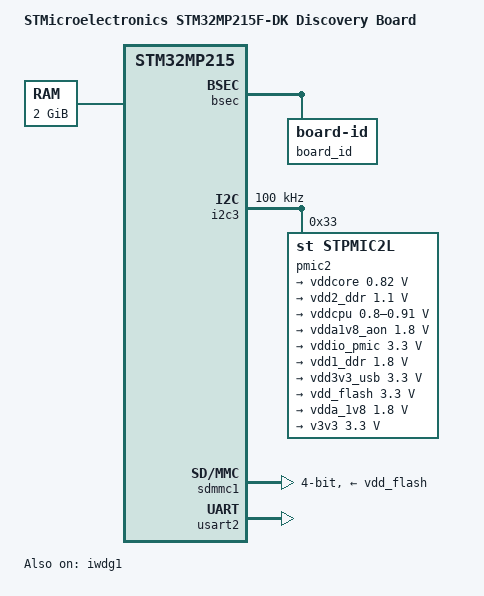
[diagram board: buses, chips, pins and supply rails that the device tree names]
// SPDX-License-Identifier: (GPL-2.0-only OR BSD-3-Clause)
/*
 * Copyright (C) STMicroelectronics 2024 - All Rights Reserved
 * Author: Amelie Delaunay <amelie.delaunay@foss.st.com> for STMicroelectronics.
 */

/dts-v1/;

#include <dt-bindings/clock/stm32mp21-clksrc.h>
#include "stm32mp215.dtsi"
#include "stm32mp21xf.dtsi"
#include "stm32mp21-lpddr4-1x16Gbits-1x16bits-800MHz.dtsi"
#include "stm32mp21-pinctrl.dtsi"
#include "stm32mp21xxan-pinctrl.dtsi"
#include "stm32mp215f-dk-ca35tdcid-rcc.dtsi"

/ {
	model = "STMicroelectronics STM32MP215F-DK Discovery Board";
	compatible = "st,stm32mp215f-dk", "st,stm32mp215";

	aliases {
		serial0 = &usart2;
	};

	chosen {
		stdout-path = "serial0:115200n8";
	};

	memory@80000000 {
		device_type = "memory";
		reg = <0x0 0x80000000 0x0 0x80000000>;
	};

	shadow-prov {
		compatible = "st,provisioning";

		hconf1_prov {
			nvmem-cells = <&hconf1_otp>;
			/* SDcard (SDMMC1) only in 3.3V */
			st,shadow-value = <0x00008000>;
		};
	};
};

&bsec {
	board_id: board-id@3d8 {
		reg = <0x3d8 0x4>;
	};
};

&ddr {
	vdd1-supply = <&vdd1_ddr>;
	vdd2-supply = <&vdd2_ddr>;
	vddq-supply = <&vdd2_ddr>;
};

&i2c3 {
	pinctrl-names = "default";
	pinctrl-0 = <&i2c3_pins_a>;
	i2c-scl-rising-time-ns = <185>;
	i2c-scl-falling-time-ns = <20>;
	clock-frequency = <100000>;
	status = "okay";
	#address-cells = <1>;
	#size-cells = <0>;

	pmic2: pmic@33 {
		compatible = "st,stpmic2l";
		reg = <0x33>;
		status = "okay";

		regulators {
			compatible = "st,stpmic2-regulators";

			vddcore: buck1 {
				regulator-name = "vddcore";
				regulator-min-microvolt = <820000>;
				regulator-max-microvolt = <820000>;
				regulator-always-on;
			};
			vdd2_ddr: buck2 {
				regulator-name = "vdd2_ddr";
				regulator-min-microvolt = <1100000>;
				regulator-max-microvolt = <1100000>;
			};
			vddcpu: buck3 {
				regulator-name = "vddcpu";
				regulator-min-microvolt = <800000>;
				regulator-max-microvolt = <910000>;
				regulator-always-on;
			};
			vdda1v8_aon: ldo1 {
				regulator-name = "vdda1v8_aon";
				regulator-min-microvolt = <1800000>;
				regulator-max-microvolt = <1800000>;
				regulator-always-on;
				st,mask-reset;
			};
			vddio_pmic: ldo2 {
				regulator-name = "vddio_pmic";
				regulator-min-microvolt = <3300000>;
				regulator-max-microvolt = <3300000>;
				regulator-always-on;
				st,mask-reset;
			};
			vdd1_ddr: ldo3 {
				regulator-name = "vdd1_ddr";
				regulator-min-microvolt = <1800000>;
				regulator-max-microvolt = <1800000>;
				regulator-enable-ramp-delay = <1000>;
			};
			vdd3v3_usb: ldo4 {
				regulator-name = "vdd3v3_usb";
				regulator-min-microvolt = <3300000>;
				regulator-max-microvolt = <3300000>;
			};
			vdd_flash: ldo5 {
				regulator-name = "vdd_flash";
				regulator-min-microvolt = <3300000>;
				regulator-max-microvolt = <3300000>;
			};
			vdda_1v8: ldo6 {
				regulator-name = "vdda_1v8";
				regulator-min-microvolt = <1800000>;
				regulator-max-microvolt = <1800000>;
				regulator-always-on;
			};
			v3v3: gpo1 {
				regulator-name = "v3v3";
				regulator-min-microvolt = <3300000>;
				regulator-max-microvolt = <3300000>;
				regulator-always-on;
			};
		};
	};
};

&iwdg1 {
	timeout-sec = <32>;
	status = "okay";
};

&pwr {
	vddio1 {
		vddio1-supply = <&vddio_pmic>;
	};

	vddio2 {
		vddio2-supply = <&vdda_1v8>;
	};

	vddio3 {
		vddio3-supply = <&vddio_pmic>;
	};

	vddio {
		vdd-supply = <&vddio_pmic>;
	};
};

&sdmmc1 {
	pinctrl-names = "default";
	pinctrl-0 = <&sdmmc1_b4_pins_a>;
	st,neg-edge;
	bus-width = <4>;
	vmmc-supply = <&vdd_flash>;
	vqmmc-supply = <&vddio1>;
	status = "okay";
};

&usart2 {
	pinctrl-names = "default", "idle", "sleep";
	pinctrl-0 = <&usart2_pins_a>;
	status = "okay";
};
